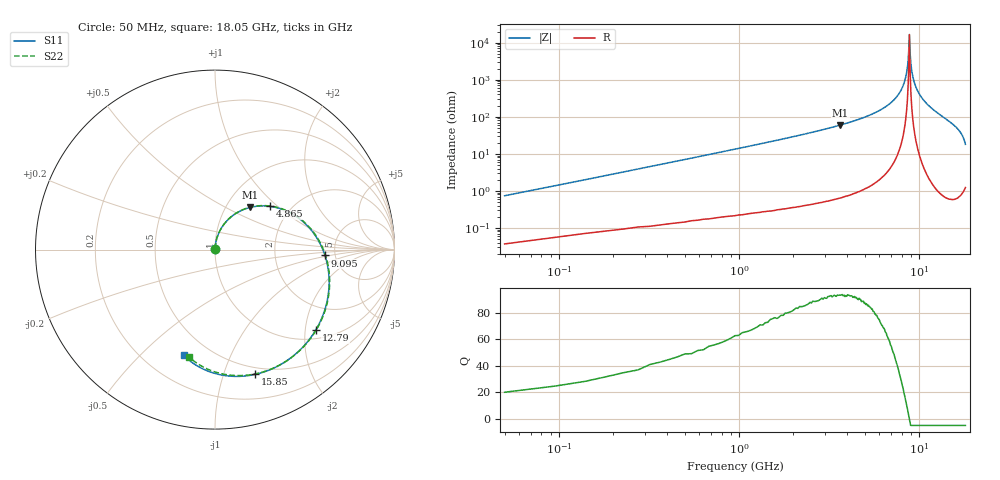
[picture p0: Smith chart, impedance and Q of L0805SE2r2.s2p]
! AVX Thin Film Operation		Date: May 2002
! Description: Accu-L® Series, Thin Film, SMD, RF Inductors
! Part Number: L08052R2CEWTR
! 50 MHz  -  18.05 GHz
! Serial Measurements
# mhz S db R 50
!	S11		S21		S12		S22
!	dB	Phase	dB	Phase	dB	Phase	dB	Phase
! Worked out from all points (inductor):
!   401 points, 50 MHz to 18.05 GHz, reference 50 ohm
!   read as 1/Y11, port 2 shorted: L = 2.26 nH near 140 MHz
!   highest Q = 93.1 at 3.65 GHz (marker M1), where L = 2.61 nH
!   self-resonance near 8.78 GHz
!   S11 on the Smith chart (normalised r, x): 50 MHz: 1.00, +0.01; 4.865 GHz: 1.58, +0.90; 9.095 GHz: 4.13, -0.43; 12.79 GHz: 1.24, -2.28; 15.85 GHz: 0.43, -1.28; 18.05 GHz: 0.36, -0.68
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50  -46.21 85.5  -0.00 -0.6  -0.00 -0.6  -46.21 85.5
185  -35.37 85.2  -0.01 -2.0  -0.01 -2.0  -35.37 85.2
320  -30.73 84.3  -0.01 -3.5  -0.01 -3.5  -30.73 84.3
545  -26.20 82.3  -0.02 -5.9  -0.02 -5.9  -26.20 82.3
815  -22.78 79.7  -0.04 -8.8  -0.04 -8.8  -22.78 79.7
1220  -19.36 75.5  -0.07 -13.1  -0.07 -13.1  -19.36 75.6
1715  -16.48 70.4  -0.12 -18.4  -0.12 -18.4  -16.48 70.6
3065  -11.71 56.4  -0.34 -32.6  -0.34 -32.6  -11.71 56.7
3650  -10.33 50.4  -0.46 -38.7  -0.46 -38.7  -10.33 50.7
4865  -8.17 38.1  -0.76 -51.0  -0.76 -51.0  -8.17 38.5
6080  -6.62 26.0  -1.12 -63.1  -1.12 -63.1  -6.62 26.5
7520  -5.28 12.0  -1.58 -77.2  -1.58 -77.2  -5.28 12.6
9050  -4.27 -2.6  -2.10 -91.8  -2.10 -91.8  -4.27 -1.8
9095  -4.24 -3.1  -2.12 -92.2  -2.12 -92.2  -4.24 -2.3
10580  -3.54 -17.1  -2.61 -106.3  -2.61 -106.3  -3.54 -16.2
12065  -3.05 -31.4  -3.06 -120.5  -3.06 -120.5  -3.05 -30.2
12785  -2.88 -38.5  -3.24 -127.6  -3.24 -127.6  -2.88 -37.2
13955  -2.69 -50.5  -3.46 -139.6  -3.46 -139.6  -2.69 -49.0
15080  -2.65 -62.8  -3.54 -152.0  -3.54 -152.0  -2.65 -61.1
15845  -2.73 -72.1  -3.46 -161.3  -3.46 -161.3  -2.73 -70.2
17060  -3.18 -89.1  -3.04 -178.5  -3.04 -178.5  -3.18 -86.7
18050  -4.23 -106.6  -2.31 163.6  -2.31 163.6  -4.22 -103.6
